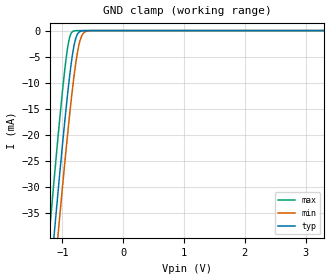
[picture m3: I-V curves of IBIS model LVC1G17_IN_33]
| [Disclaimer]
| This product is protected under copyright law.
| Created  2002, (C) Copyright  2002, Texas Instruments
| Incorporated, All Rights Reserved
| UNLESS THERE IS A SIGNED, WRITTEN AGREEMENT TO THE
| CONTRARY, TEXAS INSTRUMENTS (TI) IS PROVIDING THE IBIS
| MODELS  AND WITHOUT ANY WARRANTY, EXPRESSED OR
| IMPLIED.  TI assumes no liability for:
| 1) the accuracy of the IBIS models provided to your
| company;
| 2) the proper functioning of these IBIS Models in your
| design or for any resulting applications; or
| 3) infringement of patents, copyrights or intellectual
| property rights resulting from your use of these IBIS
| models.
| [Copyright]
| (C) Copyright 2014 Texas Instruments Incorporated.All rights reserved.
| From sn74lvc1g17-5v.ibs, Texas Instruments, Inc.
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[Model]   LVC1G17_IN_33
Model_type  Input
Vinl=0.8
Vinh=2.0
| variable   typ   min   max
C_comp   4.01pF   3.22pF   5.19pF
[Temperature Range]   40   100   -40
| Ambient temperature   25   85   -40
[Voltage range]   3.3   3   3.6
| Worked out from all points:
|   GND clamp passes 1 mA (typ) near -0.77 V on its own axis
[GND Clamp]
| LVC1G17_IN_33
|   Voltage   I(typ)   I(min)   I(max)
-5.5V     -655.2mA   -662.2mA   -646.6mA
-1.225V   -50.93mA   -59.21mA   -40.3mA
-1.145V   -40.37mA   -48.66mA   -29.72mA
-1.12V    -37.12mA   -45.41mA   -26.48mA
-1.08V    -31.98mA   -40.25mA   -21.38mA
-1.06V    -29.44mA   -37.69mA   -18.89mA
-965mV    -17.84mA   -25.87mA   -7.89mA
-885mV    -9.098mA   -16.55mA   -1.486mA
-780mV    -1.472mA   -6.227mA   -17.15uA
-715mV    -205.4uA   -2.128mA   -808.5nA
-640mV    -15.53uA   -338.1uA   -23.69nA
3.3V      6.304pA    9.258pA    5.93pA
